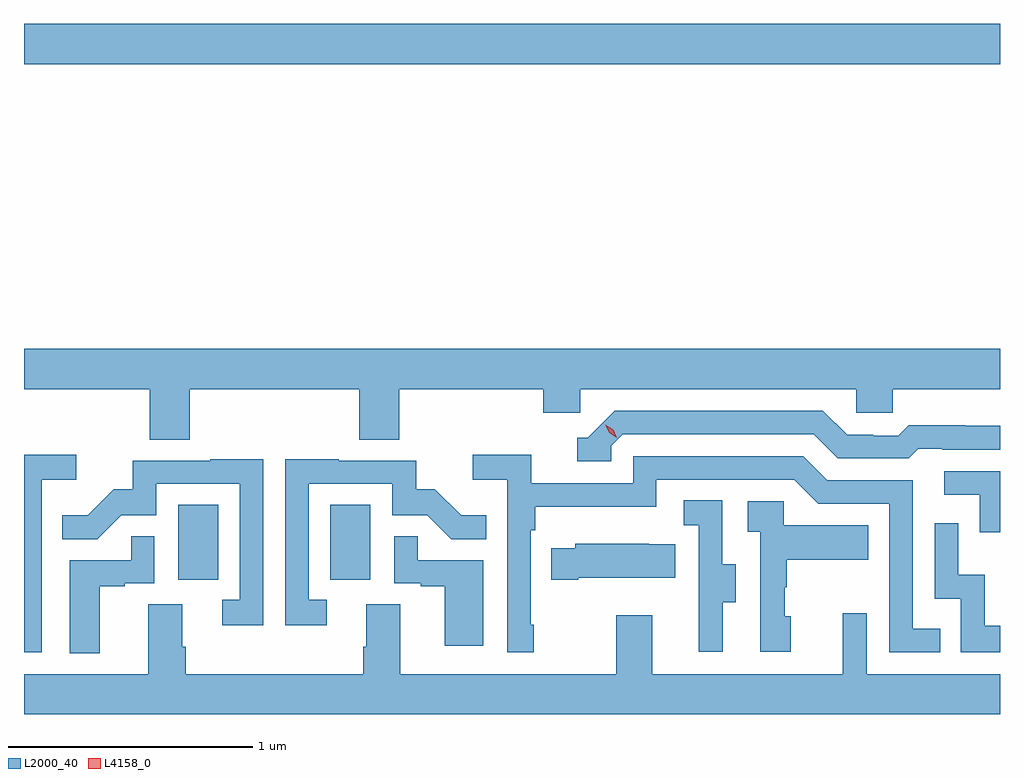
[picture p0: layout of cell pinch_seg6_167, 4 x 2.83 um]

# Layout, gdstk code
import gdstk
lib = gdstk.Library(unit=1e-6, precision=1e-09)
def R(c, l, rs):  # rectangles x0, y0, x1, y1
    for r in rs: c.add(gdstk.rectangle(r[:2], r[2:], *l))
def P(c, l, *ps):  # polygons
    for p in ps: c.add(gdstk.Polygon(p, *l))
L2000_40 = (2000, 40)
L4158_0 = (4158, 0)

pinch_seg6_167 = lib.new_cell('pinch_seg6_167')
R(pinch_seg6_167, L2000_40, [(1046.036,937.23,1046.2,937.537), (1046.66,937.23,1046.824,937.537), (1045.404,939.344,1049.404,939.508)])
P(pinch_seg6_167, L2000_40, [(1046.084,938.012),(1046.777,938.012),(1046.777,937.804),(1046.942,937.804),(1046.942,938.012),(1047.533,938.012),(1047.533,937.914),(1047.684,937.914),(1047.684,938.012),(1048.815,938.012),(1048.815,937.914),(1048.965,937.914),(1048.965,938.012),(1049.404,938.012),(1049.404,938.176),(1045.404,938.176),(1045.404,938.012),(1045.919,938.012),(1045.919,937.804),(1046.084,937.804)],
  [(1047.81,937.779),(1047.858,937.827),(1048.641,937.827),(1048.74,937.728),(1049.029,937.728),(1049.068,937.767),(1049.167,937.767),(1049.167,937.764),(1049.404,937.764),(1049.404,937.861),(1049.262,937.861),(1049.262,937.864),(1049.029,937.864),(1048.987,937.821),(1048.884,937.821),(1048.884,937.824),(1048.777,937.824),(1048.678,937.923),(1047.825,937.923),(1047.714,937.812),(1047.671,937.812),(1047.671,937.716),(1047.81,937.716)],
  [(1047.493,937.045),(1047.48,937.045),(1047.48,937.433),(1047.5,937.433),(1047.5,937.529),(1047.996,937.529),(1047.996,937.641),(1048.56,937.641),(1048.659,937.542),(1048.95,937.542),(1048.95,936.933),(1049.159,936.933),(1049.159,937.029),(1049.046,937.029),(1049.046,937.638),(1048.696,937.638),(1048.597,937.737),(1047.9,937.737),(1047.9,937.626),(1047.482,937.626),(1047.482,937.742),(1047.243,937.742),(1047.243,937.64),(1047.384,937.64),(1047.384,936.933),(1047.493,936.933)],
  [(1045.476,937.64),(1045.618,937.64),(1045.618,937.742),(1045.404,937.742),(1045.404,936.933),(1045.476,936.933)],
  [(1046.644,937.149),(1046.571,937.149),(1046.571,937.623),(1046.913,937.623),(1046.913,937.494),(1047.057,937.494),(1047.155,937.396),(1047.299,937.396),(1047.299,937.495),(1047.195,937.495),(1047.088,937.602),(1047.012,937.602),(1047.012,937.719),(1046.693,937.719),(1046.693,937.724),(1046.475,937.724),(1046.475,937.044),(1046.644,937.044)],
  [(1046.385,937.724),(1046.167,937.724),(1046.167,937.719),(1045.849,937.719),(1045.849,937.602),(1045.772,937.602),(1045.665,937.495),(1045.561,937.495),(1045.561,937.396),(1045.704,937.396),(1045.802,937.494),(1045.947,937.494),(1045.947,937.623),(1046.289,937.623),(1046.289,937.149),(1046.217,937.149),(1046.217,937.044),(1046.385,937.044)],
  [(1049.404,937.674),(1049.175,937.674),(1049.175,937.578),(1049.322,937.578),(1049.322,937.425),(1049.404,937.425)],
  [(1048.267,937.138),(1048.321,937.138),(1048.321,937.293),(1048.266,937.293),(1048.266,937.556),(1048.107,937.556),(1048.107,937.453),(1048.17,937.453),(1048.17,937.149),(1048.169,937.149),(1048.169,936.936),(1048.267,936.936)],
  [(1048.546,937.08),(1048.521,937.08),(1048.521,937.199),(1048.531,937.199),(1048.531,937.313),(1048.865,937.313),(1048.865,937.453),(1048.518,937.453),(1048.518,937.551),(1048.371,937.551),(1048.371,937.427),(1048.422,937.427),(1048.422,936.936),(1048.546,936.936)],
  [(1049.404,937.042),(1049.342,937.042),(1049.342,937.25),(1049.232,937.25),(1049.232,937.462),(1049.136,937.462),(1049.136,937.152),(1049.244,937.152),(1049.244,936.933),(1049.404,936.933)],
  [(1047.286,937.311),(1047.017,937.311),(1047.017,937.409),(1046.922,937.409),(1046.922,937.215),(1047.029,937.215),(1047.029,937.203),(1047.128,937.203),(1047.128,936.96),(1047.286,936.96)],
  [(1045.714,937.203),(1045.817,937.203),(1045.817,937.215),(1045.938,937.215),(1045.938,937.409),(1045.843,937.409),(1045.843,937.311),(1045.592,937.311),(1045.592,936.929),(1045.714,936.929)],
  [(1047.676,937.238),(1048.073,937.238),(1048.073,937.375),(1047.965,937.375),(1047.965,937.378),(1047.663,937.378),(1047.663,937.36),(1047.565,937.36),(1047.565,937.231),(1047.676,937.231)],
  [(1049.404,936.844),(1048.857,936.844),(1048.857,937.093),(1048.76,937.093),(1048.76,936.844),(1047.979,936.844),(1047.979,937.084),(1047.832,937.084),(1047.832,936.844),(1046.947,936.844),(1046.947,937.13),(1046.807,937.13),(1046.807,936.956),(1046.795,936.956),(1046.795,936.844),(1046.066,936.844),(1046.066,936.956),(1046.053,936.956),(1046.053,937.13),(1045.913,937.13),(1045.913,936.844),(1045.404,936.844),(1045.404,936.68),(1049.404,936.68)])
P(pinch_seg6_167, L4158_0, [(1047.834,937.813),(1047.803,937.832),(1047.787,937.865),(1047.787,937.865),(1047.787,937.865),(1047.818,937.846),(1047.834,937.813),(1047.834,937.813)])

lib.write_gds('pinch_seg6_167.gds')
